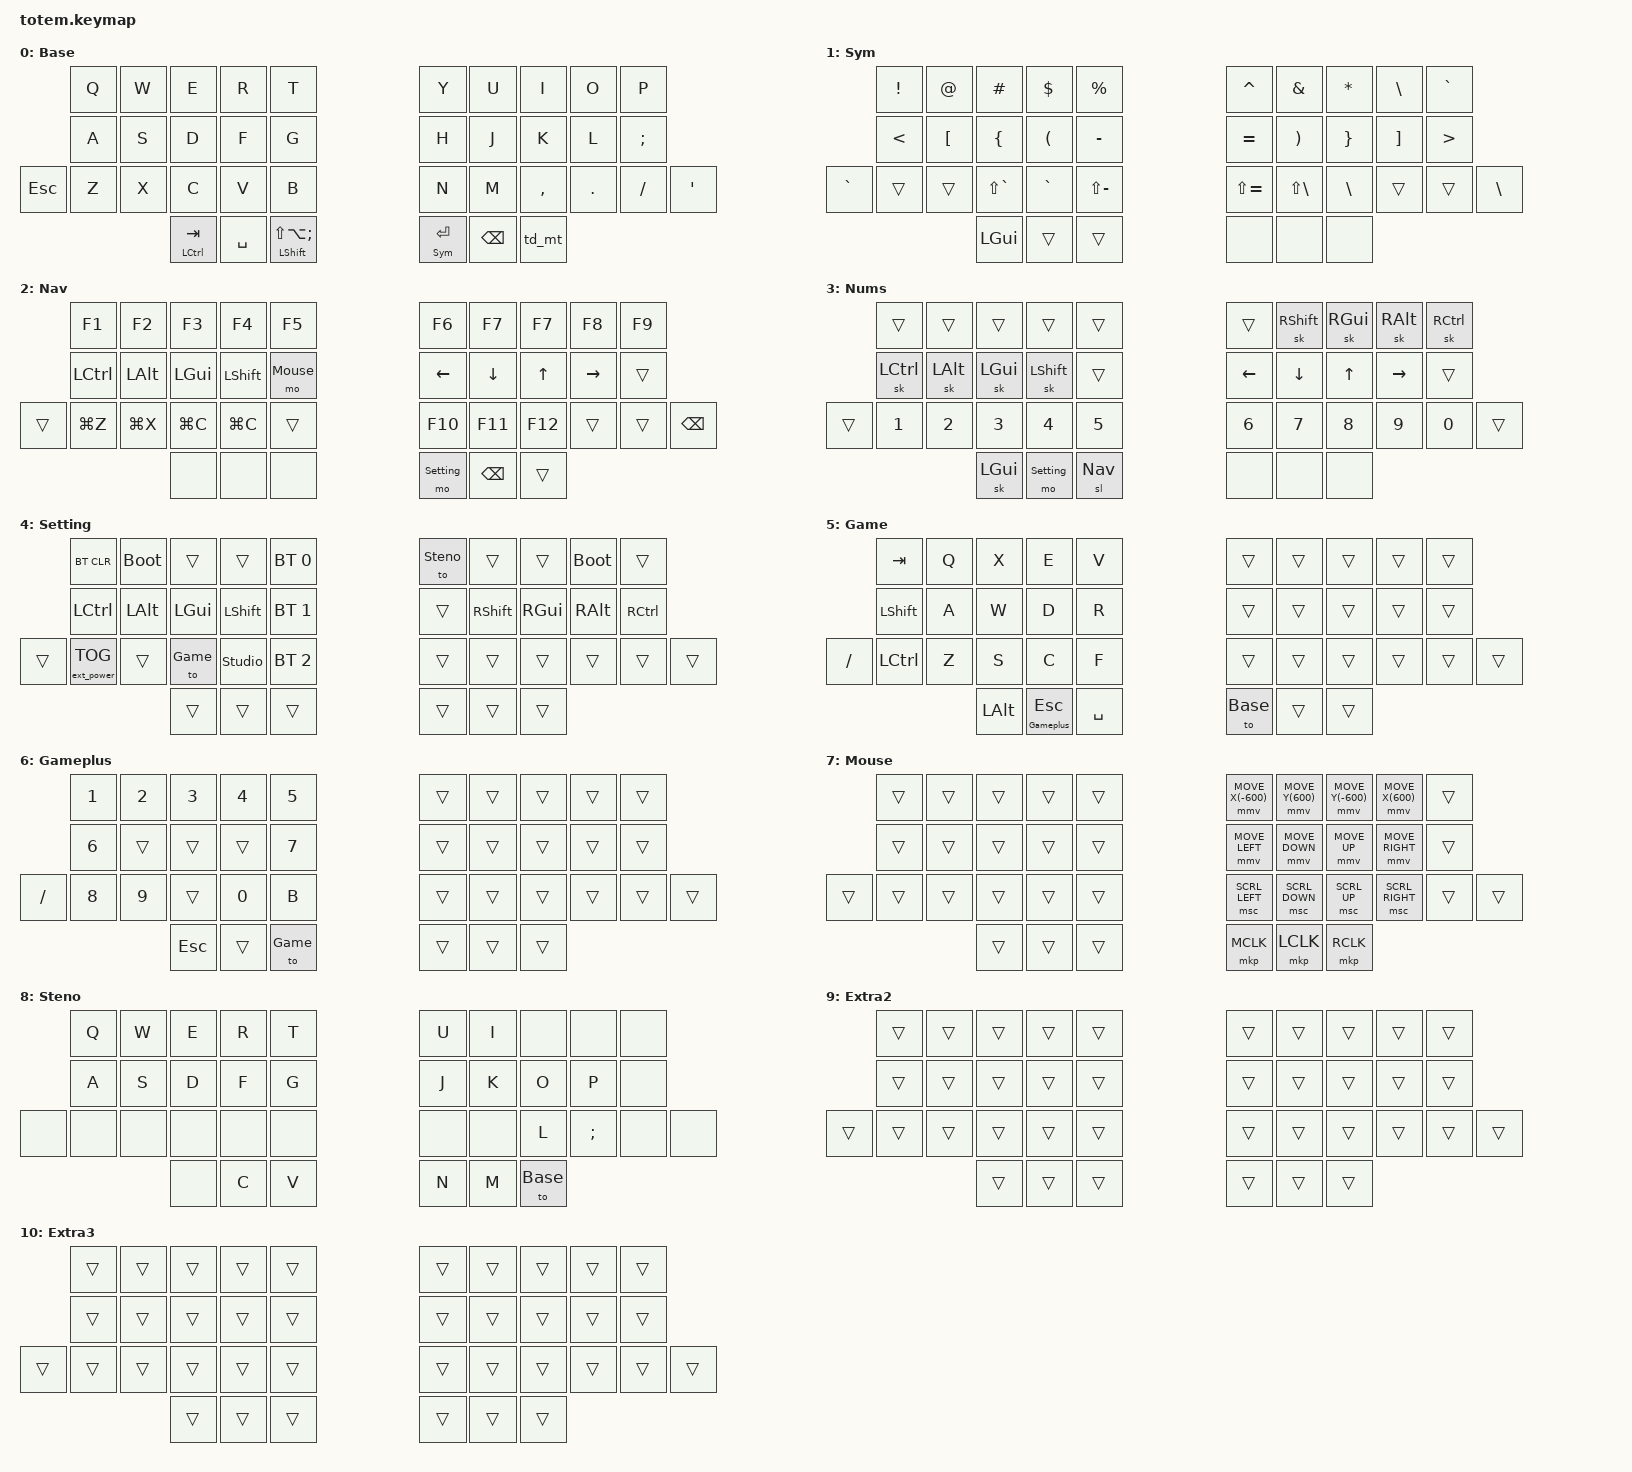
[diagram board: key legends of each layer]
//
//                                                        ▀▀▀▀▀     ▀▀▀▀▀          ▀▀█▀▀
//                                                        ▄▀▀▀▄  ▄  ▄▀▀▀▄  ▄  ▄▀▀▀▄  █  ▄▀▀▀▄
//                                                        █   █  █  █   █  █  █   █  █  █   █
//                                                         ▀▀▀   █   ▀▀▀   █   ▀▀▀   ▀   ▀▀▀
//                                                               █      ▄▄▄█▄▄▄    █   █  
//                                                               ▀      █  █  █     █▄█
//                                                             ▀▀▀▀▀    █  █  █      ▀
//                                                                      ▀  ▀  ▀
//
// ▄▄▄▄▄▄▄▄▄▄▄▄▄▄▄▄▄▄▄▄▄▄▄▄▄▄▄▄▄▄▄▄▄▄▄▄▄▄▄▄▄▄▄▄▄▄▄▄▄▄▄▄▄▄▄▄▄▄▄▄▄▄▄▄▄▄▄▄▄▄▄▄▄▄▄▄▄▄▄▄▄▄▄▄▄▄▄▄▄▄▄▄▄▄▄▄▄▄▄▄▄▄▄▄▄▄▄▄▄▄▄▄▄▄▄▄▄▄▄▄▄▄▄▄▄▄▄▄▄▄▄▄▄▄▄▄▄▄▄▄▄▄▄▄▄▄▄▄▄

#include <behaviors.dtsi>
#include <dt-bindings/zmk/keys.h>
#include <dt-bindings/zmk/bt.h>
#include <dt-bindings/zmk/outputs.h>
#include <dt-bindings/zmk/ext_power.h>

#define Base            0
#define Sym             1
#define Nav             2
#define Nums            3
#define Setting         4
#define Game            5
#define Gameplus        6
#define Mouse           7
#define Steno           8

&mt {
    quick-tap-ms = <100>;
    global-quick-tap;
    flavor = "tap-preferred";
    tapping-term-ms = <170>;
};

&lt {
    quick-tap-ms = <100>;
    global-quick-tap;
    flavor = "tap-preferred";
    tapping-term-ms = <170>;
};

/ {
    combos {
        compatible = "zmk,combos";
        combo_setting {
            timeout-ms = <100>;
            key-positions = <32 37>;
            bindings = <&sl Nums>;
        };
    };
    behaviors {
        td_mt: tap_dance_mod_tap {
            compatible = "zmk,behavior-tap-dance";
            #binding-cells = <0>;
            tapping-term-ms = <1000>;
            bindings = <&sl Nums>, <&kp LEFT_GUI>;
        };
    };

    //               0   1   2   3   4                   5   6   7   8   9
    //               10  11  12  13  14                  15  16  17  18  19
    //           20  21  22  23  24  25                  26  27  28  29  30  31
    //                       32  33  34                  35  36  37

    keymap {
        compatible = "zmk,keymap";

    Base {
        label = "Base";
        bindings = <
                 &kp Q  &kp W  &kp E          &kp R      &kp T                           &kp Y          &kp U     &kp I               &kp O    &kp P
                 &kp A  &kp S  &kp D          &kp F      &kp G                           &kp H          &kp J     &kp K               &kp L    &kp SEMICOLON
        &kp ESC  &kp Z  &kp X  &kp C          &kp V      &kp B                           &kp N          &kp M     &kp COMMA           &kp DOT  &kp SLASH      &kp SQT
                               &mt LCTRL TAB  &kp SPACE  &mt LSHIFT LS(LA(SEMI))         &lt Sym ENTER  &kp BSPC  &td_mt
        >;
    };

    Sym {
        label = "Sym";
        bindings = <
                   &kp EXCL  &kp AT    &kp HASH       &kp DLLR   &kp PRCNT                  &kp CARET      &kp AMPS      &kp STAR  &kp BSLH  &kp GRAVE
                   &kp LT    &kp LBKT  &kp LBRC       &kp LPAR   &kp MINUS                  &kp EQUAL      &kp RPAR      &kp RBRC  &kp RBKT  &kp GT
        &kp GRAVE  &trans    &trans    &kp LS(GRAVE)  &kp GRAVE  &kp LS(MINUS)              &kp LS(EQUAL)  &kp LS(BSLH)  &kp BSLH  &trans    &trans     &kp BSLH
                                       &kp LEFT_GUI   &trans     &trans                     &none          &none         &none
        >;
    };

    Nav {
        label = "Nav";
        bindings = <
                &kp F1     &kp F2     &kp F3        &kp F4      &kp F5                      &kp F6       &kp F7    &kp F7   &kp F8     &kp F9
                &kp LCTRL  &kp LALT   &kp LEFT_GUI  &kp LSHIFT  &mo Mouse                   &kp LEFT     &kp DOWN  &kp UP   &kp RIGHT  &trans
        &trans  &kp LG(Z)  &kp LG(X)  &kp LG(C)     &kp LG(C)   &trans                      &kp F10      &kp F11   &kp F12  &trans     &trans  &kp BSPC
                                      &none         &none       &none                       &mo Setting  &kp BSPC  &trans
        >;
    };

    Nums {
        label = "Nums";
        bindings = <
                &trans     &trans     &trans        &trans       &trans                &trans    &sk RSHIFT  &sk RGUI  &sk RALT   &sk RCTRL
                &sk LCTRL  &sk LALT   &sk LGUI      &sk LSHIFT   &trans                &kp LEFT  &kp DOWN    &kp UP    &kp RIGHT  &trans
        &trans  &kp N1     &kp N2     &kp N3        &kp N4       &kp N5                &kp N6    &kp N7      &kp N8    &kp N9     &kp N0     &trans
                                      &sk LEFT_GUI  &mo Setting  &sl Nav               &none     &none       &none
        >;
    };

    Setting {
        label = "Setting";
        bindings = <
                &bt BT_CLR         &bootloader  &trans     &trans          &bt BT_SEL 0                  &to Steno  &trans      &trans    &bootloader  &trans
                &kp LCTRL          &kp LALT     &kp LGUI   &kp LSHIFT      &bt BT_SEL 1                  &trans     &kp RSHIFT  &kp RGUI  &kp RALT     &kp RCTRL
        &trans  &ext_power EP_TOG  &trans       &to Game   &studio_unlock  &bt BT_SEL 2                  &trans     &trans      &trans    &trans       &trans    &trans
                                                &trans     &trans          &trans                        &trans     &trans      &trans
        >;
    };

    Game {
        label = "Game";
        bindings = <
                  &kp TAB         &kp Q  &kp X       &kp E                &kp V                      &trans    &trans  &trans  &trans  &trans
                  &kp LEFT_SHIFT  &kp A  &kp W       &kp D                &kp R                      &trans    &trans  &trans  &trans  &trans
        &kp FSLH  &kp LCTRL       &kp Z  &kp S       &kp C                &kp F                      &trans    &trans  &trans  &trans  &trans  &trans
                                         &kp LALT    &lt Gameplus ESCAPE  &kp SPACE                  &to Base  &trans  &trans
        >;
    };

    Gameplus {
        label = "Gameplus";
        bindings = <
                  &kp N1  &kp N2  &kp N3      &kp N4  &kp N5                    &trans  &trans  &trans  &trans  &trans
                  &kp N6  &trans  &trans      &trans  &kp N7                    &trans  &trans  &trans  &trans  &trans
        &kp FSLH  &kp N8  &kp N9  &trans      &kp N0  &kp B                     &trans  &trans  &trans  &trans  &trans  &trans
                                  &kp ESCAPE  &trans  &to Game                  &trans  &trans  &trans
        >;
    };

    Mouse {
        label = "Mouse";
        bindings = <
                  &trans  &trans  &trans  &trans  &trans                    &mmv MOVE_X(-600)  &mmv MOVE_Y(600)  &mmv MOVE_Y(-600)  &mmv MOVE_X(600)  &trans
                  &trans  &trans  &trans  &trans  &trans                    &mmv MOVE_LEFT     &mmv MOVE_DOWN    &mmv MOVE_UP       &mmv MOVE_RIGHT   &trans
          &trans  &trans  &trans  &trans  &trans  &trans                    &msc SCRL_LEFT     &msc SCRL_DOWN    &msc SCRL_UP       &msc SCRL_RIGHT   &trans  &trans
                                  &trans  &trans  &trans                    &mkp MCLK          &mkp LCLK         &mkp RCLK
        >;
    };

    Steno {
        label = "Steno";
        bindings = <
                 &kp Q  &kp W  &kp E  &kp R  &kp T                    &kp U  &kp I  &none     &none          &none
                 &kp A  &kp S  &kp D  &kp F  &kp G                    &kp J  &kp K  &kp O     &kp P          &none
          &none  &none  &none  &none  &none  &none                    &none  &none  &kp L     &kp SEMICOLON  &none  &none
                               &none  &kp C  &kp V                    &kp N  &kp M  &to Base
        >;
    };

    Extra2 {
        label = "Extra2";
        bindings = <
                  &trans  &trans  &trans  &trans  &trans                    &trans  &trans  &trans  &trans  &trans
                  &trans  &trans  &trans  &trans  &trans                    &trans  &trans  &trans  &trans  &trans
          &trans  &trans  &trans  &trans  &trans  &trans                    &trans  &trans  &trans  &trans  &trans  &trans
                                  &trans  &trans  &trans                    &trans  &trans  &trans
        >;
    };

    Extra3 {
        label = "Extra3";
        bindings = <
                  &trans  &trans  &trans  &trans  &trans                    &trans  &trans  &trans  &trans  &trans
                  &trans  &trans  &trans  &trans  &trans                    &trans  &trans  &trans  &trans  &trans
          &trans  &trans  &trans  &trans  &trans  &trans                    &trans  &trans  &trans  &trans  &trans  &trans
                                  &trans  &trans  &trans                    &trans  &trans  &trans
        >;
    };
  };
};
